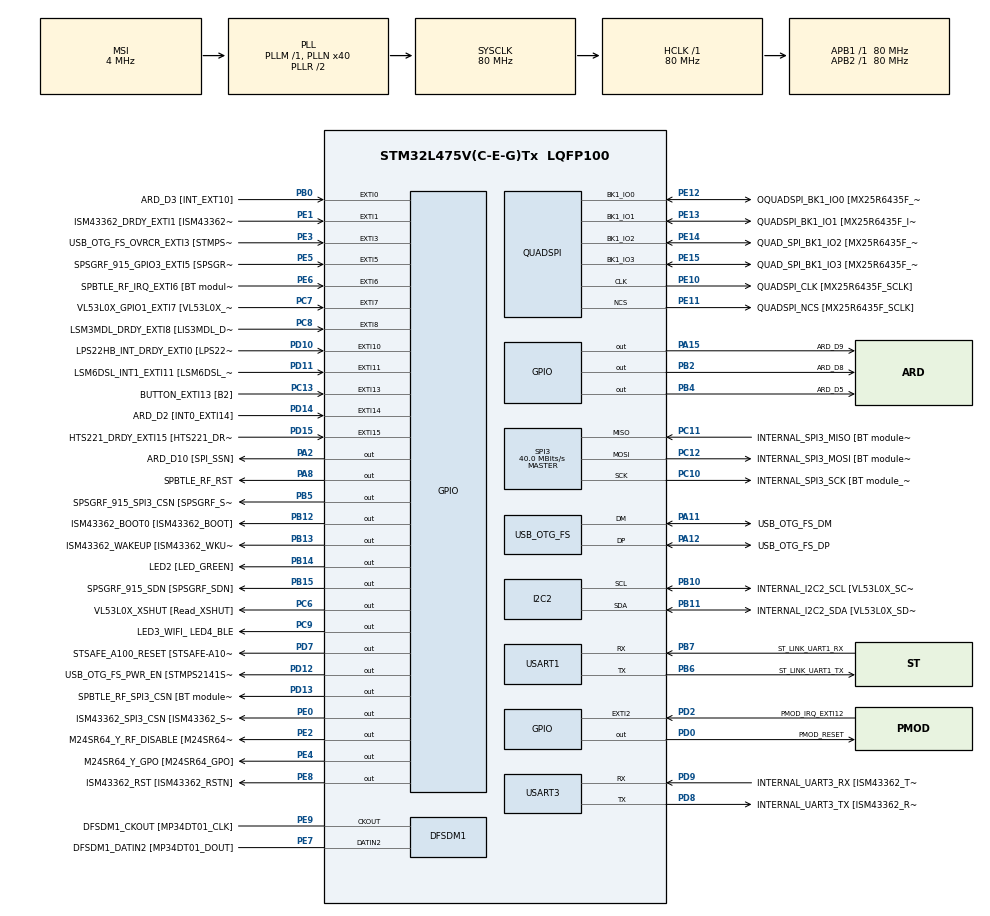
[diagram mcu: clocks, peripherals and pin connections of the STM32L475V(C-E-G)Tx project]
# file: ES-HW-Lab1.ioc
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FREERTOS.BinarySemaphores01=timerBinarySem,Dynamic,NULL,Depleted
FREERTOS.Mutexes01=LED2Mutex,Dynamic,NULL,Depleted
FREERTOS.Queues01=pressPeriodMessageQueue,16,uint16_t,0,Dynamic,NULL,NULL
FREERTOS.Tasks01=buttonBlink,46,128,handleButtonBlink,Default,NULL,Dynamic,NULL,NULL;regularBlink,47,128,handle10HzRegularBlink,Default,NULL,Dynamic,NULL,NULL
I2C2.Timing=0x10D19CE4
Mcu.Family=STM32L4
Mcu.Name=STM32L475V(C-E-G)Tx
Mcu.Package=LQFP100
NVIC.EXTI15_10_IRQn=true\:5\:0\:false\:false\:true\:true\:true\:true\:true
NVIC.EXTI9_5_IRQn=true\:5\:0\:false\:false\:true\:true\:true\:true\:true
NVIC.PriorityGroup=NVIC_PRIORITYGROUP_4
NVIC.TIM3_IRQn=true\:5\:0\:false\:false\:true\:true\:true\:true\:true
PA0.GPIO_Label=ARD_D1 [UART4_TX]
PA0.Signal=UART4_TX
PA1.GPIO_Label=ARD_D0 [UART4_RX]
PA1.Signal=UART4_RX
PA10.GPIO_Label=USB_OTG_FS_ID
PA10.Signal=USB_OTG_FS_ID
PA11.GPIO_Label=USB_OTG_FS_DM
PA11.Mode=Device_Only
PA11.Signal=USB_OTG_FS_DM
PA12.GPIO_Label=USB_OTG_FS_DP
PA12.Mode=Device_Only
PA12.Signal=USB_OTG_FS_DP
PA13\ (JTMS-SWDIO).GPIO_Label=SYS_JTMS_SWDIO
PA13\ (JTMS-SWDIO).Mode=Serial_Wire
PA13\ (JTMS-SWDIO).Signal=SYS_JTMS-SWDIO
PA14\ (JTCK-SWCLK).GPIO_Label=SYS_JTCK_SWCLK
PA14\ (JTCK-SWCLK).Mode=Serial_Wire
PA14\ (JTCK-SWCLK).Signal=SYS_JTCK-SWCLK
PA15\ (JTDI).GPIO_Label=ARD_D9
PA15\ (JTDI).Signal=GPIO_Output
PA2.GPIO_Label=ARD_D10 [SPI_SSN]
PA2.Signal=GPIO_Output
PA3.GPIO_Label=ARD_D4
PA3.Signal=S_TIM2_CH4
PA4.GPIO_Label=ARD_D7
PA4.Signal=ADCx_IN9
PA5.GPIO_Label=ARD_D13 [SPI1_SCK]
PA5.Signal=SPI1_SCK
PA6.GPIO_Label=ARD_D12 [SPI1_MISO]
PA6.Signal=SPI1_MISO
PA7.GPIO_Label=ARD_D11 [SPI1_MOSI]
PA7.Signal=SPI1_MOSI
PA8.GPIO_Label=SPBTLE_RF_RST
PA8.Signal=GPIO_Output
PA9.GPIO_Label=USB_OTG_FS_VBUS [STMPS2141STR_OUT]
PA9.Signal=USB_OTG_FS_VBUS
PB0.GPIO_Label=ARD_D3 [INT_EXT10]
PB0.Signal=GPXTI0
PB1.GPIO_Label=ARD_D6 [ADC1_IN6]
PB1.Signal=ADCx_IN16
PB10.GPIO_Label=INTERNAL_I2C2_SCL [VL53L0X_SCL]
PB10.GPIO_Pu=GPIO_PULLUP
PB10.Mode=I2C
PB10.Signal=I2C2_SCL
PB11.GPIO_Label=INTERNAL_I2C2_SDA [VL53L0X_SDA]
PB11.GPIO_Pu=GPIO_PULLUP
PB11.Mode=I2C
PB11.Signal=I2C2_SDA
PB12.GPIO_Label=ISM43362_BOOT0 [ISM43362_BOOT]
PB12.Signal=GPIO_Output
PB13.GPIO_Label=ISM43362_WAKEUP [ISM43362_WKUP]
PB13.Signal=GPIO_Output
PB14.GPIO_Label=LED2 [LED_GREEN]
PB14.Signal=GPIO_Output
PB15.GPIO_Label=SPSGRF_915_SDN [SPSGRF_SDN]
PB15.Signal=GPIO_Output
PB2.GPIO_Label=ARD_D8
PB2.Signal=GPIO_Output
PB3\ (JTDO-TRACESWO).GPIO_Label=SYS_JTD0_SWO
PB3\ (JTDO-TRACESWO).Signal=SYS_JTDO-SWO
PB4\ (NJTRST).GPIO_Label=ARD_D5
PB4\ (NJTRST).Signal=GPIO_Output
PB5.GPIO_Label=SPSGRF_915_SPI3_CSN [SPSGRF_SPI_CS]
PB5.PinState=GPIO_PIN_SET
PB5.Signal=GPIO_Output
PB6.GPIO_Label=ST_LINK_UART1_TX
PB6.Mode=Asynchronous
PB6.Signal=USART1_TX
PB7.GPIO_Label=ST_LINK_UART1_RX
PB7.Mode=Asynchronous
PB7.Signal=USART1_RX
PB8.GPIO_Label=ARD_D15 [I2C1_SCL]
PB8.Signal=I2C1_SCL
PB9.GPIO_Label=ARD_D14 [I2C1_SDA]
PB9.Signal=I2C1_SDA
PC0.GPIO_Label=ARD_A5 [ADC]
PC0.Signal=ADCx_IN1
PC1.GPIO_Label=ARD_A4 [ADC]
PC1.Signal=ADCx_IN2
PC10.GPIO_Label=INTERNAL_SPI3_SCK [BT module_SPI_SCLK] [ISM43362_SCK]
PC10.Mode=Full_Duplex_Master
PC10.Signal=SPI3_SCK
PC11.GPIO_Label=INTERNAL_SPI3_MISO [BT module_SPI_MISO] [ISM43362_MISO]
PC11.Mode=Full_Duplex_Master
PC11.Signal=SPI3_MISO
PC12.GPIO_Label=INTERNAL_SPI3_MOSI [BT module_SPI_MOSI] [ISM43362_MOSI]
PC12.Mode=Full_Duplex_Master
PC12.Signal=SPI3_MOSI
PC13.GPIO_Label=BUTTON_EXTI13 [B2]
PC13.GPIO_ModeDefaultEXTI=GPIO_MODE_IT_RISING_FALLING
PC13.Signal=GPXTI13
PC14-OSC32_IN\ (PC14).Mode=LSE-External-Oscillator
PC14-OSC32_IN\ (PC14).Signal=RCC_OSC32_IN
PC15-OSC32_OUT\ (PC15).Mode=LSE-External-Oscillator
PC15-OSC32_OUT\ (PC15).Signal=RCC_OSC32_OUT
PC2.GPIO_Label=ARD_A3 [ADC]
PC2.Signal=ADCx_IN3
PC3.GPIO_Label=ARD_A2 [ADC]
PC3.Signal=ADCx_IN4
PC4.GPIO_Label=ARD_A1 [ADC]
PC4.Signal=ADCx_IN13
PC5.GPIO_Label=ARD_A0 [ADC]
PC5.Signal=ADCx_IN14
PC6.GPIO_Label=VL53L0X_XSHUT [Read_XSHUT]
PC6.Signal=GPIO_Output
PC7.GPIO_Label=VL53L0X_GPIO1_EXTI7 [VL53L0X_GPIO1]
PC7.Signal=GPXTI7
PC8.GPIO_Label=LSM3MDL_DRDY_EXTI8 [LIS3MDL_DRDY]
PC8.Signal=GPXTI8
PC9.GPIO_Label=LED3_WIFI_ LED4_BLE
PC9.Signal=GPIO_Output
PD0.GPIO_Label=PMOD_RESET
PD0.Signal=GPIO_Output
PD1.GPIO_Label=PMOD_SPI2_SCK
PD1.Signal=SPI2_SCK
PD10.GPIO_Label=LPS22HB_INT_DRDY_EXTI0 [LPS22HB_INT_DRDY] 
PD10.Signal=GPXTI10
PD11.GPIO_Label=LSM6DSL_INT1_EXTI11 [LSM6DSL_INT1]
PD11.Signal=GPXTI11
PD12.GPIO_Label=USB_OTG_FS_PWR_EN [STMPS2141STR_EN]
PD12.Signal=GPIO_Output
PD13.GPIO_Label=SPBTLE_RF_SPI3_CSN [BT module_SPI_CS]
PD13.PinState=GPIO_PIN_SET
PD13.Signal=GPIO_Output
PD14.GPIO_Label=ARD_D2 [INT0_EXTI14]
PD14.Signal=GPXTI14
PD15.GPIO_Label=HTS221_DRDY_EXTI15 [HTS221_DRDY]
PD15.Signal=GPXTI15
PD2.GPIO_Label=PMOD_IRQ_EXTI12
PD2.Signal=GPXTI2
PD3.GPIO_Label=PMOD_UART2_CTS
PD3.Signal=USART2_CTS
PD4.GPIO_Label=PMOD_UART2_RTS
PD4.Signal=USART2_RTS
PD5.GPIO_Label=PMOD_UART2_TX
PD5.Signal=USART2_TX
PD6.GPIO_Label=PMOD_UART2_RX
PD6.Signal=USART2_RX
PD7.GPIO_Label=STSAFE_A100_RESET [STSAFE-A100_RESET]
PD7.Signal=GPIO_Output
PD8.GPIO_Label=INTERNAL_UART3_TX [ISM43362_RX]
PD8.Mode=Asynchronous
PD8.Signal=USART3_TX
PD9.GPIO_Label=INTERNAL_UART3_RX [ISM43362_TX]
PD9.Mode=Asynchronous
PD9.Signal=USART3_RX
PE0.GPIO_Label=ISM43362_SPI3_CSN [ISM43362_SSN]
PE0.PinState=GPIO_PIN_SET
PE0.Signal=GPIO_Output
PE1.GPIO_Label=ISM43362_DRDY_EXTI1 [ISM43362_DATARDY]
PE1.Signal=GPXTI1
PE10.GPIO_Label=QUADSPI_CLK [MX25R6435F_SCLK]
PE10.Mode=Single Bank
PE10.Signal=QUADSPI_CLK
PE11.GPIO_Label=QUADSPI_NCS [MX25R6435F_SCLK]
PE11.Mode=Single Bank
PE11.Signal=QUADSPI_NCS
PE12.GPIO_Label=OQUADSPI_BK1_IO0 [MX25R6435F_IO0]
PE12.Mode=Single Bank
PE12.Signal=QUADSPI_BK1_IO0
PE13.GPIO_Label=QUADSPI_BK1_IO1 [MX25R6435F_IO1]
PE13.Mode=Single Bank
PE13.Signal=QUADSPI_BK1_IO1
PE14.GPIO_Label=QUAD_SPI_BK1_IO2 [MX25R6435F_IO2]
PE14.Mode=Single Bank
PE14.Signal=QUADSPI_BK1_IO2
PE15.GPIO_Label=QUAD_SPI_BK1_IO3 [MX25R6435F_IO3]
PE15.Mode=Single Bank
PE15.Signal=QUADSPI_BK1_IO3
PE2.GPIO_Label=M24SR64_Y_RF_DISABLE [M24SR64_RFDIS]
PE2.Signal=GPIO_Output
PE3.GPIO_Label=USB_OTG_FS_OVRCR_EXTI3 [STMPS2141STR_FAULT]
PE3.Signal=GPXTI3
PE4.GPIO_Label=M24SR64_Y_GPO [M24SR64_GPO]
PE4.Signal=GPIO_Output
PE5.GPIO_Label=SPSGRF_915_GPIO3_EXTI5 [SPSGRF_GPIO_3]
PE5.Signal=GPXTI5
PE6.GPIO_Label=SPBTLE_RF_IRQ_EXTI6 [BT module_SPI_IRQ]
PE6.Signal=GPXTI6
PE7.GPIO_Label=DFSDM1_DATIN2 [MP34DT01_DOUT]
PE7.Signal=S_DATAIN2DFSDM1
PE8.GPIO_Label=ISM43362_RST [ISM43362_RSTN]
PE8.Signal=GPIO_Output
PE9.GPIO_Label=DFSDM1_CKOUT [MP34DT01_CLK]
PE9.Signal=S_CKOUTDFSDM1
ProjectManager.HeapSize=0x200
ProjectManager.StackSize=0x400
ProjectManager.TargetToolchain=STM32CubeIDE
QUADSPI.ClockPrescaler=2
QUADSPI.FifoThreshold=4
QUADSPI.FlashSize=23
QUADSPI.SampleShifting=QSPI_SAMPLE_SHIFTING_HALFCYCLE
RCC.ADCFreq_Value=48000000
RCC.AHBFreq_Value=80000000
RCC.APB1Freq_Value=80000000
RCC.APB1TimFreq_Value=80000000
RCC.APB2Freq_Value=80000000
RCC.APB2TimFreq_Value=80000000
RCC.CortexFreq_Value=80000000
RCC.HCLKFreq_Value=80000000
RCC.HSE_VALUE=8000000
RCC.HSI_VALUE=16000000
RCC.MSI_VALUE=4000000
RCC.PLLN=40
RCC.PLLSAI1N=24
RCC.SYSCLKFreq_VALUE=80000000
RCC.SYSCLKSource=RCC_SYSCLKSOURCE_PLLCLK
RCC.USBFreq_Value=48000000
RCC.VCOOutputFreq_Value=160000000
SH.ADCx_IN1.0=ADC1_IN1
SH.ADCx_IN13.0=ADC1_IN13
SH.ADCx_IN14.0=ADC1_IN14
SH.ADCx_IN16.0=ADC1_IN16
SH.ADCx_IN2.0=ADC1_IN2
SH.ADCx_IN3.0=ADC1_IN3
SH.ADCx_IN4.0=ADC1_IN4
SH.ADCx_IN9.0=ADC1_IN9
SH.S_CKOUTDFSDM1.0=DFSDM1_CKOUT,CKOUT
SH.S_CKOUTDFSDM1.1=DFSDM1_CKOUT,PDM_SPI_Input_from_ch12_and_Internal_Clock
SH.S_DATAIN2DFSDM1.0=DFSDM1_DATIN2,PDM_SPI_Input_from_ch12_and_Internal_Clock
SH.S_TIM2_CH4.0=TIM2_CH4
SPI3.CalculateBaudRate=40.0 MBits/s
SPI3.Direction=SPI_DIRECTION_2LINES
SPI3.Mode=SPI_MODE_MASTER
SPI3.VirtualType=VM_MASTER
TIM3.AutoReloadPreload=TIM_AUTORELOAD_PRELOAD_ENABLE
TIM3.Period=12800
TIM3.Prescaler=62499
USART1.VirtualMode-Asynchronous=VM_ASYNC
USART3.VirtualMode-Asynchronous=VM_ASYNC
USB_OTG_FS.VirtualMode=Device_Only
VP_FREERTOS_VS_CMSIS_V2.Mode=CMSIS_V2
VP_TIM3_VS_ClockSourceINT.Mode=Internal
board=B-L475E-IOT01A2

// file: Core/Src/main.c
/* USER CODE BEGIN Header */
/**
  ******************************************************************************
  * @file           : main.c
  * @brief          : Main program body
  ******************************************************************************
  * @attention
  *
  * Copyright (c) 2024 STMicroelectronics.
  * All rights reserved.
  *
  * This software is licensed under terms that can be found in the LICENSE file
  * in the root directory of this software component.
  * If no LICENSE file comes with this software, it is provided AS-IS.
  *
  ******************************************************************************
  */
/* USER CODE END Header */
#include "main.h"
#include "cmsis_os.h"

/* USER CODE BEGIN PD */
#define LONG_PRESS_THRESHOLD 1000 // 1 second in milliseconds
#define DEBOUNCE_DELAY 50 // 50 milliseconds debounce delay
/* USER CODE END PD */

DFSDM_Channel_HandleTypeDef hdfsdm1_channel1;

I2C_HandleTypeDef hi2c2;

QSPI_HandleTypeDef hqspi;

SPI_HandleTypeDef hspi3;

TIM_HandleTypeDef htim3;

UART_HandleTypeDef huart1;
UART_HandleTypeDef huart3;

PCD_HandleTypeDef hpcd_USB_OTG_FS;

/* Definitions for buttonBlink */
osThreadId_t buttonBlinkHandle;
const osThreadAttr_t buttonBlink_attributes = {
  .name = "buttonBlink",
  .stack_size = 128 * 4,
  .priority = (osPriority_t) osPriorityHigh6,
};
/* Definitions for regularBlink */
osThreadId_t regularBlinkHandle;
const osThreadAttr_t regularBlink_attributes = {
  .name = "regularBlink",
  .stack_size = 128 * 4,
  .priority = (osPriority_t) osPriorityHigh7,
};
/* Definitions for pressPeriodMessageQueue */
osMessageQueueId_t pressPeriodMessageQueueHandle;
const osMessageQueueAttr_t pressPeriodMessageQueue_attributes = {
  .name = "pressPeriodMessageQueue"
};
/* Definitions for LED2Mutex */
osMutexId_t LED2MutexHandle;
const osMutexAttr_t LED2Mutex_attributes = {
  .name = "LED2Mutex"
};
/* Definitions for timerBinarySem */
osSemaphoreId_t timerBinarySemHandle;
const osSemaphoreAttr_t timerBinarySem_attributes = {
  .name = "timerBinarySem"
};

void SystemClock_Config(void);
static void MX_GPIO_Init(void);
static void MX_DFSDM1_Init(void);
static void MX_I2C2_Init(void);
static void MX_QUADSPI_Init(void);
static void MX_SPI3_Init(void);
static void MX_USART1_UART_Init(void);
static void MX_USART3_UART_Init(void);
static void MX_USB_OTG_FS_PCD_Init(void);
static void MX_TIM3_Init(void);
void handleButtonBlink(void *argument);
void handle10HzRegularBlink(void *argument);

int main(void)
{

  /* MCU Configuration--------------------------------------------------------*/

  /* Reset of all peripherals, Initializes the Flash interface and the Systick. */
  HAL_Init();

  /* Configure the system clock */
  SystemClock_Config();

  /* Initialize all configured peripherals */
  MX_GPIO_Init();
  MX_DFSDM1_Init();
  MX_I2C2_Init();
  MX_QUADSPI_Init();
  MX_SPI3_Init();
  MX_USART1_UART_Init();
  MX_USART3_UART_Init();
  MX_USB_OTG_FS_PCD_Init();
  MX_TIM3_Init();

  /* Init scheduler */
  osKernelInitialize();
  /* Create the mutex(es) */
  /* creation of LED2Mutex */
  LED2MutexHandle = osMutexNew(&LED2Mutex_attributes);

  /* Create the semaphores(s) */
  /* creation of timerBinarySem */
  timerBinarySemHandle = osSemaphoreNew(1, 0, &timerBinarySem_attributes);

  /* USER CODE BEGIN RTOS_TIMERS */
  /* start timers, add new ones, ... */
  HAL_TIM_Base_Start_IT(&htim3);
  /* USER CODE END RTOS_TIMERS */

  /* Create the queue(s) */
  /* creation of pressPeriodMessageQueue */
  pressPeriodMessageQueueHandle = osMessageQueueNew (16, sizeof(uint16_t), &pressPeriodMessageQueue_attributes);

  /* Create the thread(s) */
  /* creation of buttonBlink */
  buttonBlinkHandle = osThreadNew(handleButtonBlink, NULL, &buttonBlink_attributes);

  /* creation of regularBlink */
  regularBlinkHandle = osThreadNew(handle10HzRegularBlink, NULL, &regularBlink_attributes);

  /* Start scheduler */
  osKernelStart();

  /* We should never get here as control is now taken by the scheduler */

  /* Infinite loop */
  while (1)
  {

  }
}

void SystemClock_Config(void)
{
  RCC_OscInitTypeDef RCC_OscInitStruct = {0};
  RCC_ClkInitTypeDef RCC_ClkInitStruct = {0};

  /** Configure the main internal regulator output voltage
  */
  if (HAL_PWREx_ControlVoltageScaling(PWR_REGULATOR_VOLTAGE_SCALE1) != HAL_OK)
  {
    Error_Handler();
  }

  /** Configure LSE Drive Capability
  */
  HAL_PWR_EnableBkUpAccess();
  __HAL_RCC_LSEDRIVE_CONFIG(RCC_LSEDRIVE_LOW);

  /** Initializes the RCC Oscillators according to the specified parameters
  * in the RCC_OscInitTypeDef structure.
  */
  RCC_OscInitStruct.OscillatorType = RCC_OSCILLATORTYPE_LSE|RCC_OSCILLATORTYPE_MSI;
  RCC_OscInitStruct.LSEState = RCC_LSE_ON;
  RCC_OscInitStruct.MSIState = RCC_MSI_ON;
  RCC_OscInitStruct.MSICalibrationValue = 0;
  RCC_OscInitStruct.MSIClockRange = RCC_MSIRANGE_6;
  RCC_OscInitStruct.PLL.PLLState = RCC_PLL_ON;
  RCC_OscInitStruct.PLL.PLLSource = RCC_PLLSOURCE_MSI;
  RCC_OscInitStruct.PLL.PLLM = 1;
  RCC_OscInitStruct.PLL.PLLN = 40;
  RCC_OscInitStruct.PLL.PLLP = RCC_PLLP_DIV7;
  RCC_OscInitStruct.PLL.PLLQ = RCC_PLLQ_DIV2;
  RCC_OscInitStruct.PLL.PLLR = RCC_PLLR_DIV2;
  if (HAL_RCC_OscConfig(&RCC_OscInitStruct) != HAL_OK)
  {
    Error_Handler();
  }

  /** Initializes the CPU, AHB and APB buses clocks
  */
  RCC_ClkInitStruct.ClockType = RCC_CLOCKTYPE_HCLK|RCC_CLOCKTYPE_SYSCLK
                              |RCC_CLOCKTYPE_PCLK1|RCC_CLOCKTYPE_PCLK2;
  RCC_ClkInitStruct.SYSCLKSource = RCC_SYSCLKSOURCE_PLLCLK;
  RCC_ClkInitStruct.AHBCLKDivider = RCC_SYSCLK_DIV1;
  RCC_ClkInitStruct.APB1CLKDivider = RCC_HCLK_DIV1;
  RCC_ClkInitStruct.APB2CLKDivider = RCC_HCLK_DIV1;

  if (HAL_RCC_ClockConfig(&RCC_ClkInitStruct, FLASH_LATENCY_4) != HAL_OK)
  {
    Error_Handler();
  }

  /** Enable MSI Auto calibration
  */
  HAL_RCCEx_EnableMSIPLLMode();
}

static void MX_DFSDM1_Init(void)
{

  hdfsdm1_channel1.Instance = DFSDM1_Channel1;
  hdfsdm1_channel1.Init.OutputClock.Activation = ENABLE;
  hdfsdm1_channel1.Init.OutputClock.Selection = DFSDM_CHANNEL_OUTPUT_CLOCK_SYSTEM;
  hdfsdm1_channel1.Init.OutputClock.Divider = 2;
  hdfsdm1_channel1.Init.Input.Multiplexer = DFSDM_CHANNEL_EXTERNAL_INPUTS;
  hdfsdm1_channel1.Init.Input.DataPacking = DFSDM_CHANNEL_STANDARD_MODE;
  hdfsdm1_channel1.Init.Input.Pins = DFSDM_CHANNEL_FOLLOWING_CHANNEL_PINS;
  hdfsdm1_channel1.Init.SerialInterface.Type = DFSDM_CHANNEL_SPI_RISING;
  hdfsdm1_channel1.Init.SerialInterface.SpiClock = DFSDM_CHANNEL_SPI_CLOCK_INTERNAL;
  hdfsdm1_channel1.Init.Awd.FilterOrder = DFSDM_CHANNEL_FASTSINC_ORDER;
  hdfsdm1_channel1.Init.Awd.Oversampling = 1;
  hdfsdm1_channel1.Init.Offset = 0;
  hdfsdm1_channel1.Init.RightBitShift = 0x00;
  if (HAL_DFSDM_ChannelInit(&hdfsdm1_channel1) != HAL_OK)
  {
    Error_Handler();
  }

}

static void MX_I2C2_Init(void)
{

  hi2c2.Instance = I2C2;
  hi2c2.Init.Timing = 0x10D19CE4;
  hi2c2.Init.OwnAddress1 = 0;
  hi2c2.Init.AddressingMode = I2C_ADDRESSINGMODE_7BIT;
  hi2c2.Init.DualAddressMode = I2C_DUALADDRESS_DISABLE;
  hi2c2.Init.OwnAddress2 = 0;
  hi2c2.Init.OwnAddress2Masks = I2C_OA2_NOMASK;
  hi2c2.Init.GeneralCallMode = I2C_GENERALCALL_DISABLE;
  hi2c2.Init.NoStretchMode = I2C_NOSTRETCH_DISABLE;
  if (HAL_I2C_Init(&hi2c2) != HAL_OK)
  {
    Error_Handler();
  }

  /** Configure Analogue filter
  */
  if (HAL_I2CEx_ConfigAnalogFilter(&hi2c2, I2C_ANALOGFILTER_ENABLE) != HAL_OK)
  {
    Error_Handler();
  }

  /** Configure Digital filter
  */
  if (HAL_I2CEx_ConfigDigitalFilter(&hi2c2, 0) != HAL_OK)
  {
    Error_Handler();
  }

}

static void MX_QUADSPI_Init(void)
{

  /* QUADSPI parameter configuration*/
  hqspi.Instance = QUADSPI;
  hqspi.Init.ClockPrescaler = 2;
  hqspi.Init.FifoThreshold = 4;
  hqspi.Init.SampleShifting = QSPI_SAMPLE_SHIFTING_HALFCYCLE;
  hqspi.Init.FlashSize = 23;
  hqspi.Init.ChipSelectHighTime = QSPI_CS_HIGH_TIME_1_CYCLE;
  hqspi.Init.ClockMode = QSPI_CLOCK_MODE_0;
  if (HAL_QSPI_Init(&hqspi) != HAL_OK)
  {
    Error_Handler();
  }

}

static void MX_SPI3_Init(void)
{

  /* SPI3 parameter configuration*/
  hspi3.Instance = SPI3;
  hspi3.Init.Mode = SPI_MODE_MASTER;
  hspi3.Init.Direction = SPI_DIRECTION_2LINES;
  hspi3.Init.DataSize = SPI_DATASIZE_4BIT;
  hspi3.Init.CLKPolarity = SPI_POLARITY_LOW;
  hspi3.Init.CLKPhase = SPI_PHASE_1EDGE;
  hspi3.Init.NSS = SPI_NSS_SOFT;
  hspi3.Init.BaudRatePrescaler = SPI_BAUDRATEPRESCALER_2;
  hspi3.Init.FirstBit = SPI_FIRSTBIT_MSB;
  hspi3.Init.TIMode = SPI_TIMODE_DISABLE;
  hspi3.Init.CRCCalculation = SPI_CRCCALCULATION_DISABLE;
  hspi3.Init.CRCPolynomial = 7;
  hspi3.Init.CRCLength = SPI_CRC_LENGTH_DATASIZE;
  hspi3.Init.NSSPMode = SPI_NSS_PULSE_ENABLE;
  if (HAL_SPI_Init(&hspi3) != HAL_OK)
  {
    Error_Handler();
  }

}

static void MX_TIM3_Init(void)
{

  TIM_ClockConfigTypeDef sClockSourceConfig = {0};
  TIM_MasterConfigTypeDef sMasterConfig = {0};

  htim3.Instance = TIM3;
  htim3.Init.Prescaler = 62499;
  htim3.Init.CounterMode = TIM_COUNTERMODE_UP;
  htim3.Init.Period = 12800;
  htim3.Init.ClockDivision = TIM_CLOCKDIVISION_DIV1;
  htim3.Init.AutoReloadPreload = TIM_AUTORELOAD_PRELOAD_ENABLE;
  if (HAL_TIM_Base_Init(&htim3) != HAL_OK)
  {
    Error_Handler();
  }
  sClockSourceConfig.ClockSource = TIM_CLOCKSOURCE_INTERNAL;
  if (HAL_TIM_ConfigClockSource(&htim3, &sClockSourceConfig) != HAL_OK)
  {
    Error_Handler();
  }
  sMasterConfig.MasterOutputTrigger = TIM_TRGO_RESET;
  sMasterConfig.MasterSlaveMode = TIM_MASTERSLAVEMODE_DISABLE;
  if (HAL_TIMEx_MasterConfigSynchronization(&htim3, &sMasterConfig) != HAL_OK)
  {
    Error_Handler();
  }

}

static void MX_USART1_UART_Init(void)
{

  huart1.Instance = USART1;
  huart1.Init.BaudRate = 115200;
  huart1.Init.WordLength = UART_WORDLENGTH_8B;
  huart1.Init.StopBits = UART_STOPBITS_1;
  huart1.Init.Parity = UART_PARITY_NONE;
  huart1.Init.Mode = UART_MODE_TX_RX;
  huart1.Init.HwFlowCtl = UART_HWCONTROL_NONE;
  huart1.Init.OverSampling = UART_OVERSAMPLING_16;
  huart1.Init.OneBitSampling = UART_ONE_BIT_SAMPLE_DISABLE;
  huart1.AdvancedInit.AdvFeatureInit = UART_ADVFEATURE_NO_INIT;
  if (HAL_UART_Init(&huart1) != HAL_OK)
  {
    Error_Handler();
  }

}

static void MX_USART3_UART_Init(void)
{

  huart3.Instance = USART3;
  huart3.Init.BaudRate = 115200;
  huart3.Init.WordLength = UART_WORDLENGTH_8B;
  huart3.Init.StopBits = UART_STOPBITS_1;
  huart3.Init.Parity = UART_PARITY_NONE;
  huart3.Init.Mode = UART_MODE_TX_RX;
  huart3.Init.HwFlowCtl = UART_HWCONTROL_NONE;
  huart3.Init.OverSampling = UART_OVERSAMPLING_16;
  huart3.Init.OneBitSampling = UART_ONE_BIT_SAMPLE_DISABLE;
  huart3.AdvancedInit.AdvFeatureInit = UART_ADVFEATURE_NO_INIT;
  if (HAL_UART_Init(&huart3) != HAL_OK)
  {
    Error_Handler();
  }

}

static void MX_USB_OTG_FS_PCD_Init(void)
{

  hpcd_USB_OTG_FS.Instance = USB_OTG_FS;
  hpcd_USB_OTG_FS.Init.dev_endpoints = 6;
  hpcd_USB_OTG_FS.Init.speed = PCD_SPEED_FULL;
  hpcd_USB_OTG_FS.Init.phy_itface = PCD_PHY_EMBEDDED;
  hpcd_USB_OTG_FS.Init.Sof_enable = DISABLE;
  hpcd_USB_OTG_FS.Init.low_power_enable = DISABLE;
  hpcd_USB_OTG_FS.Init.lpm_enable = DISABLE;
  hpcd_USB_OTG_FS.Init.battery_charging_enable = DISABLE;
  hpcd_USB_OTG_FS.Init.use_dedicated_ep1 = DISABLE;
  hpcd_USB_OTG_FS.Init.vbus_sensing_enable = DISABLE;
  if (HAL_PCD_Init(&hpcd_USB_OTG_FS) != HAL_OK)
  {
    Error_Handler();
  }

}

static void MX_GPIO_Init(void)
{
  GPIO_InitTypeDef GPIO_InitStruct = {0};

  /* GPIO Ports Clock Enable */
  __HAL_RCC_GPIOE_CLK_ENABLE();
  __HAL_RCC_GPIOC_CLK_ENABLE();
  __HAL_RCC_GPIOA_CLK_ENABLE();
  __HAL_RCC_GPIOB_CLK_ENABLE();
  __HAL_RCC_GPIOD_CLK_ENABLE();

  /*Configure GPIO pin Output Level */
  HAL_GPIO_WritePin(GPIOE, M24SR64_Y_RF_DISABLE_Pin|M24SR64_Y_GPO_Pin|ISM43362_RST_Pin, GPIO_PIN_RESET);

  /*Configure GPIO pin Output Level */
  HAL_GPIO_WritePin(GPIOA, ARD_D10_Pin|SPBTLE_RF_RST_Pin|ARD_D9_Pin, GPIO_PIN_RESET);

  /*Configure GPIO pin Output Level */
  HAL_GPIO_WritePin(GPIOB, ARD_D8_Pin|ISM43362_BOOT0_Pin|ISM43362_WAKEUP_Pin|LED2_Pin
                          |SPSGRF_915_SDN_Pin|ARD_D5_Pin, GPIO_PIN_RESET);

  /*Configure GPIO pin Output Level */
  HAL_GPIO_WritePin(GPIOD, USB_OTG_FS_PWR_EN_Pin|PMOD_RESET_Pin|STSAFE_A100_RESET_Pin, GPIO_PIN_RESET);

  /*Configure GPIO pin Output Level */
  HAL_GPIO_WritePin(SPBTLE_RF_SPI3_CSN_GPIO_Port, SPBTLE_RF_SPI3_CSN_Pin, GPIO_PIN_SET);

  /*Configure GPIO pin Output Level */
  HAL_GPIO_WritePin(GPIOC, VL53L0X_XSHUT_Pin|LED3_WIFI__LED4_BLE_Pin, GPIO_PIN_RESET);

  /*Configure GPIO pin Output Level */
  HAL_GPIO_WritePin(SPSGRF_915_SPI3_CSN_GPIO_Port, SPSGRF_915_SPI3_CSN_Pin, GPIO_PIN_SET);

  /*Configure GPIO pin Output Level */
  HAL_GPIO_WritePin(ISM43362_SPI3_CSN_GPIO_Port, ISM43362_SPI3_CSN_Pin, GPIO_PIN_SET);

  /*Configure GPIO pins : M24SR64_Y_RF_DISABLE_Pin M24SR64_Y_GPO_Pin ISM43362_RST_Pin ISM43362_SPI3_CSN_Pin */
  GPIO_InitStruct.Pin = M24SR64_Y_RF_DISABLE_Pin|M24SR64_Y_GPO_Pin|ISM43362_RST_Pin|ISM43362_SPI3_CSN_Pin;
  GPIO_InitStruct.Mode = GPIO_MODE_OUTPUT_PP;
  GPIO_InitStruct.Pull = GPIO_NOPULL;
  GPIO_InitStruct.Speed = GPIO_SPEED_FREQ_LOW;
  HAL_GPIO_Init(GPIOE, &GPIO_InitStruct);

  /*Configure GPIO pins : USB_OTG_FS_OVRCR_EXTI3_Pin SPSGRF_915_GPIO3_EXTI5_Pin SPBTLE_RF_IRQ_EXTI6_Pin ISM43362_DRDY_EXTI1_Pin */
  GPIO_InitStruct.Pin = USB_OTG_FS_OVRCR_EXTI3_Pin|SPSGRF_915_GPIO3_EXTI5_Pin|SPBTLE_RF_IRQ_EXTI6_Pin|ISM43362_DRDY_EXTI1_Pin;
  GPIO_InitStruct.Mode = GPIO_MODE_IT_RISING;
  GPIO_InitStruct.Pull = GPIO_NOPULL;
  HAL_GPIO_Init(GPIOE, &GPIO_InitStruct);

  /*Configure GPIO pin : BUTTON_EXTI13_Pin */
  GPIO_InitStruct.Pin = BUTTON_EXTI13_Pin;
  GPIO_InitStruct.Mode = GPIO_MODE_IT_RISING_FALLING;
  GPIO_InitStruct.Pull = GPIO_NOPULL;
  HAL_GPIO_Init(BUTTON_EXTI13_GPIO_Port, &GPIO_InitStruct);

  /*Configure GPIO pins : ARD_A5_Pin ARD_A4_Pin ARD_A3_Pin ARD_A2_Pin
                           ARD_A1_Pin ARD_A0_Pin */
  GPIO_InitStruct.Pin = ARD_A5_Pin|ARD_A4_Pin|ARD_A3_Pin|ARD_A2_Pin
                          |ARD_A1_Pin|ARD_A0_Pin;
  GPIO_InitStruct.Mode = GPIO_MODE_ANALOG_ADC_CONTROL;
  GPIO_InitStruct.Pull = GPIO_NOPULL;
  HAL_GPIO_Init(GPIOC, &GPIO_InitStruct);

  /*Configure GPIO pins : ARD_D1_Pin ARD_D0_Pin */
  GPIO_InitStruct.Pin = ARD_D1_Pin|ARD_D0_Pin;
  GPIO_InitStruct.Mode = GPIO_MODE_AF_PP;
  GPIO_InitStruct.Pull = GPIO_NOPULL;
  GPIO_InitStruct.Speed = GPIO_SPEED_FREQ_VERY_HIGH;
  GPIO_InitStruct.Alternate = GPIO_AF8_UART4;
  HAL_GPIO_Init(GPIOA, &GPIO_InitStruct);

  /*Configure GPIO pins : ARD_D10_Pin SPBTLE_RF_RST_Pin ARD_D9_Pin */
  GPIO_InitStruct.Pin = ARD_D10_Pin|SPBTLE_RF_RST_Pin|ARD_D9_Pin;
  GPIO_InitStruct.Mode = GPIO_MODE_OUTPUT_PP;
  GPIO_InitStruct.Pull = GPIO_NOPULL;
  GPIO_InitStruct.Speed = GPIO_SPEED_FREQ_LOW;
  HAL_GPIO_Init(GPIOA, &GPIO_InitStruct);

  /*Configure GPIO pin : ARD_D4_Pin */
  GPIO_InitStruct.Pin = ARD_D4_Pin;
  GPIO_InitStruct.Mode = GPIO_MODE_AF_PP;
  GPIO_InitStruct.Pull = GPIO_NOPULL;
  GPIO_InitStruct.Speed = GPIO_SPEED_FREQ_LOW;
  GPIO_InitStruct.Alternate = GPIO_AF1_TIM2;
  HAL_GPIO_Init(ARD_D4_GPIO_Port, &GPIO_InitStruct);

  /*Configure GPIO pin : ARD_D7_Pin */
  GPIO_InitStruct.Pin = ARD_D7_Pin;
  GPIO_InitStruct.Mode = GPIO_MODE_ANALOG_ADC_CONTROL;
  GPIO_InitStruct.Pull = GPIO_NOPULL;
  HAL_GPIO_Init(ARD_D7_GPIO_Port, &GPIO_InitStruct);

  /*Configure GPIO pins : ARD_D13_Pin ARD_D12_Pin ARD_D11_Pin */
  GPIO_InitStruct.Pin = ARD_D13_Pin|ARD_D12_Pin|ARD_D11_Pin;
  GPIO_InitStruct.Mode = GPIO_MODE_AF_PP;
  GPIO_InitStruct.Pull = GPIO_NOPULL;
  GPIO_InitStruct.Speed = GPIO_SPEED_FREQ_VERY_HIGH;
  GPIO_InitStruct.Alternate = GPIO_AF5_SPI1;
  HAL_GPIO_Init(GPIOA, &GPIO_InitStruct);

  /*Configure GPIO pin : ARD_D3_Pin */
  GPIO_InitStruct.Pin = ARD_D3_Pin;
  GPIO_InitStruct.Mode = GPIO_MODE_IT_RISING;
  GPIO_InitStruct.Pull = GPIO_NOPULL;
  HAL_GPIO_Init(ARD_D3_GPIO_Port, &GPIO_InitStruct);

  /*Configure GPIO pin : ARD_D6_Pin */
  GPIO_InitStruct.Pin = ARD_D6_Pin;
  GPIO_InitStruct.Mode = GPIO_MODE_ANALOG_ADC_CONTROL;
  GPIO_InitStruct.Pull = GPIO_NOPULL;
  HAL_GPIO_Init(ARD_D6_GPIO_Port, &GPIO_InitStruct);

  /*Configure GPIO pins : ARD_D8_Pin ISM43362_BOOT0_Pin ISM43362_WAKEUP_Pin LED2_Pin
                           SPSGRF_915_SDN_Pin ARD_D5_Pin SPSGRF_915_SPI3_CSN_Pin */
  GPIO_InitStruct.Pin = ARD_D8_Pin|ISM43362_BOOT0_Pin|ISM43362_WAKEUP_Pin|LED2_Pin
                          |SPSGRF_915_SDN_Pin|ARD_D5_Pin|SPSGRF_915_SPI3_CSN_Pin;
  GPIO_InitStruct.Mode = GPIO_MODE_OUTPUT_PP;
  GPIO_InitStruct.Pull = GPIO_NOPULL;
  GPIO_InitStruct.Speed = GPIO_SPEED_FREQ_LOW;
  HAL_GPIO_Init(GPIOB, &GPIO_InitStruct);

  /*Configure GPIO pins : LPS22HB_INT_DRDY_EXTI0_Pin LSM6DSL_INT1_EXTI11_Pin ARD_D2_Pin HTS221_DRDY_EXTI15_Pin
                           PMOD_IRQ_EXTI12_Pin */
  GPIO_InitStruct.Pin = LPS22HB_INT_DRDY_EXTI0_Pin|LSM6DSL_INT1_EXTI11_Pin|ARD_D2_Pin|HTS221_DRDY_EXTI15_Pin
                          |PMOD_IRQ_EXTI12_Pin;
  GPIO_InitStruct.Mode = GPIO_MODE_IT_RISING;
  GPIO_InitStruct.Pull = GPIO_NOPULL;
  HAL_GPIO_Init(GPIOD, &GPIO_InitStruct);

  /*Configure GPIO pins : USB_OTG_FS_PWR_EN_Pin SPBTLE_RF_SPI3_CSN_Pin PMOD_RESET_Pin STSAFE_A100_RESET_Pin */
  GPIO_InitStruct.Pin = USB_OTG_FS_PWR_EN_Pin|SPBTLE_RF_SPI3_CSN_Pin|PMOD_RESET_Pin|STSAFE_A100_RESET_Pin;
  GPIO_InitStruct.Mode = GPIO_MODE_OUTPUT_PP;
  GPIO_InitStruct.Pull = GPIO_NOPULL;
  GPIO_InitStruct.Speed = GPIO_SPEED_FREQ_LOW;
  HAL_GPIO_Init(GPIOD, &GPIO_InitStruct);

  /*Configure GPIO pins : VL53L0X_XSHUT_Pin LED3_WIFI__LED4_BLE_Pin */
  GPIO_InitStruct.Pin = VL53L0X_XSHUT_Pin|LED3_WIFI__LED4_BLE_Pin;
  GPIO_InitStruct.Mode = GPIO_MODE_OUTPUT_PP;
  GPIO_InitStruct.Pull = GPIO_NOPULL;
  GPIO_InitStruct.Speed = GPIO_SPEED_FREQ_LOW;
  HAL_GPIO_Init(GPIOC, &GPIO_InitStruct);

  /*Configure GPIO pins : VL53L0X_GPIO1_EXTI7_Pin LSM3MDL_DRDY_EXTI8_Pin */
  GPIO_InitStruct.Pin = VL53L0X_GPIO1_EXTI7_Pin|LSM3MDL_DRDY_EXTI8_Pin;
  GPIO_InitStruct.Mode = GPIO_MODE_IT_RISING;
  GPIO_InitStruct.Pull = GPIO_NOPULL;
  HAL_GPIO_Init(GPIOC, &GPIO_InitStruct);

  /*Configure GPIO pin : PMOD_SPI2_SCK_Pin */
  GPIO_InitStruct.Pin = PMOD_SPI2_SCK_Pin;
  GPIO_InitStruct.Mode = GPIO_MODE_AF_PP;
  GPIO_InitStruct.Pull = GPIO_NOPULL;
  GPIO_InitStruct.Speed = GPIO_SPEED_FREQ_VERY_HIGH;
  GPIO_InitStruct.Alternate = GPIO_AF5_SPI2;
  HAL_GPIO_Init(PMOD_SPI2_SCK_GPIO_Port, &GPIO_InitStruct);

  /*Configure GPIO pins : PMOD_UART2_CTS_Pin PMOD_UART2_RTS_Pin PMOD_UART2_TX_Pin PMOD_UART2_RX_Pin */
  GPIO_InitStruct.Pin = PMOD_UART2_CTS_Pin|PMOD_UART2_RTS_Pin|PMOD_UART2_TX_Pin|PMOD_UART2_RX_Pin;
  GPIO_InitStruct.Mode = GPIO_MODE_AF_PP;
  GPIO_InitStruct.Pull = GPIO_NOPULL;
  GPIO_InitStruct.Speed = GPIO_SPEED_FREQ_VERY_HIGH;
  GPIO_InitStruct.Alternate = GPIO_AF7_USART2;
  HAL_GPIO_Init(GPIOD, &GPIO_InitStruct);

  /*Configure GPIO pins : ARD_D15_Pin ARD_D14_Pin */
  GPIO_InitStruct.Pin = ARD_D15_Pin|ARD_D14_Pin;
  GPIO_InitStruct.Mode = GPIO_MODE_AF_OD;
  GPIO_InitStruct.Pull = GPIO_NOPULL;
  GPIO_InitStruct.Speed = GPIO_SPEED_FREQ_VERY_HIGH;
  GPIO_InitStruct.Alternate = GPIO_AF4_I2C1;
  HAL_GPIO_Init(GPIOB, &GPIO_InitStruct);

  /* EXTI interrupt init*/
  HAL_NVIC_SetPriority(EXTI9_5_IRQn, 5, 0);
  HAL_NVIC_EnableIRQ(EXTI9_5_IRQn);

  HAL_NVIC_SetPriority(EXTI15_10_IRQn, 5, 0);
  HAL_NVIC_EnableIRQ(EXTI15_10_IRQn);

}

/* USER CODE BEGIN 4 */

uint32_t button_press_time = 0; // Time when button was pressed
uint32_t last_interrupt_time = 0; // Time of the last interrupt (for debounce)
uint8_t button_state = 0;         // 0: released, 1: pressed

// Button press interrupt callback
void HAL_GPIO_EXTI_Callback(uint16_t GPIO_Pin){
	if (GPIO_Pin == BUTTON_EXTI13_Pin) {
		uint32_t current_time = HAL_GetTick();

		// Debounce check (ignore if within debounce period)
		if (current_time - last_interrupt_time < DEBOUNCE_DELAY) {
			return;
		}

		last_interrupt_time = current_time;

		// Check if it's a press (falling edge) or release (rising edge)
		if (HAL_GPIO_ReadPin(GPIOC, BUTTON_EXTI13_Pin) == GPIO_PIN_RESET) {
			// Button pressed (falling edge)
			if (button_state == 0) {  // Only handle if it was previously released
				button_press_time = current_time;
				button_state = 1;    // Set state to pressed
			}
	    } else {
		// Button released (rising edge)
			if (button_state == 1) {  // Only handle if it was previously pressed
				uint32_t press_duration = current_time - button_press_time;
				button_state = 0;    // Set state to released

				// Check if it was a long press or a short press
				if (press_duration >= LONG_PRESS_THRESHOLD) {
					uint8_t msg = 1;  // Long press
					osMessageQueuePut(pressPeriodMessageQueueHandle, &msg, 0, 0);
				} else {
					uint8_t msg = 0;  // Short press
					osMessageQueuePut(pressPeriodMessageQueueHandle, &msg, 0, 0);
				}
			}
	    }
	}
}

// Timer interrupt callback
void HAL_TIM_PeriodElapsedCallback(TIM_HandleTypeDef *htim) {
	// check if the timer is tim3
	if(htim == &htim3)
	{
		osSemaphoreRelease(timerBinarySemHandle);
	}
}
/* USER CODE END 4 */

void handleButtonBlink(void *argument)
{
  /* USER CODE BEGIN 5 */
	/* Infinite loop */
	uint8_t message; // Message received from the queue

	/* Infinite loop */
	for(;;)
	{
		if(osMessageQueueGet(pressPeriodMessageQueueHandle, &message, 0, 0) == osOK) {
			osMutexAcquire(LED2MutexHandle, osWaitForever); // Take the mutex

			if (message == 0) {
				// Short press - Blink at 1Hz for 5 seconds
				for (int i = 0; i < 10; i++) {
					HAL_GPIO_TogglePin(GPIOB, LED2_Pin);
					osDelay(500); // 1Hz blinking
				}
			} else if (message == 1) {
				// Long press - Blink at 10Hz for 5 seconds
				for (int i = 0; i < 100; i++) {
					HAL_GPIO_TogglePin(GPIOB, LED2_Pin);
					osDelay(50); // 10Hz blinking
				}
			}

		  osMutexRelease(LED2MutexHandle); // Release the mutex
		}
	}
  /* USER CODE END 5 */
}

void handle10HzRegularBlink(void *argument)
{
  /* USER CODE BEGIN handle10HzRegularBlink */
  /* Infinite loop */
	  for(;;)
	  {
		  osSemaphoreAcquire(timerBinarySemHandle, osWaitForever);  // Wait for timer event
		  osMutexAcquire(LED2MutexHandle, osWaitForever);  // Take the mutex

		  for (int i = 0; i < 40; i++) {  // Blink at 10Hz for 2 seconds
			  HAL_GPIO_TogglePin(GPIOB, LED2_Pin);
			  osDelay(50);  // 10Hz blinking
		  }

		  osMutexRelease(LED2MutexHandle);  // Release the mutex
	  }
  /* USER CODE END handle10HzRegularBlink */
}

void Error_Handler(void)
{
  __disable_irq();
  while (1)
  {
  }
}
